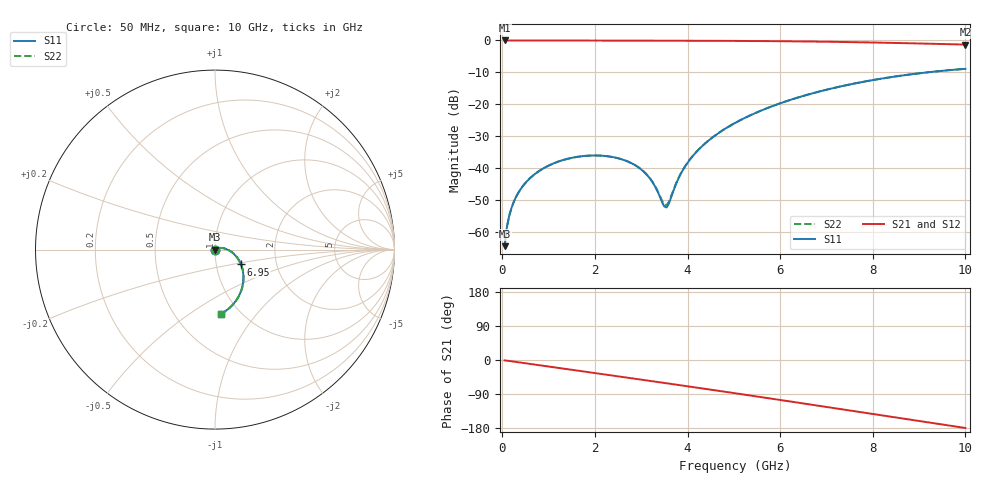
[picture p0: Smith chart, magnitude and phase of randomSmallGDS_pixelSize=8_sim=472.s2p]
! freq	dB(S11)	phase(S11)	dB(S12)	phase(S12)
!  dB(S21)	phase(S21)	dB(S22)	phase(S22)
!S-par simulation data
#  GHz  S  DB  R 50
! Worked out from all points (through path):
!   200 points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, 50 MHz to 10 GHz, reference 50 ohm
!   highest |S21| = 0.00 dB at 50 MHz (marker M1); lowest = -1.3 dB at 10 GHz (marker M2)
!   group delay of S21, straight-line fit = 50 ps
!   lowest |S11| = -64.3 dB at 50 MHz (marker M3), VSWR 1.00, Z = 50 - j0.0608 ohm
!   |S11| at or under -10 dB: start of sweep to 9.162 GHz
!   |S22| runs from -64.3 to -8.9 dB; largest |S21 - S12| = 0
!   S11 on the Smith chart (normalised r, x): 50 MHz: 1.00, -0.00; 6.95 GHz: 1.32, -0.22; 10 GHz: 0.82, -0.67
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0.05  -64.31 -87.9  -0.00 -0.9  -0.00 -0.9  -64.31 -87.9
0.1  -58.31 -90.4  -0.00 -1.7  -0.00 -1.7  -58.31 -90.4
0.2  -52.31 -93.0  -0.00 -3.5  -0.00 -3.5  -52.31 -93.0
0.35  -47.52 -96.2  -0.01 -6.1  -0.01 -6.1  -47.52 -96.2
0.5  -44.53 -99.1  -0.01 -8.7  -0.01 -8.7  -44.53 -99.2
1.05  -38.78 -109.7  -0.02 -18.1  -0.02 -18.1  -38.79 -109.8
1.75  -36.14 -123.1  -0.03 -30.1  -0.03 -30.1  -36.14 -123.3
2.3  -36.25 -134.4  -0.04 -39.6  -0.04 -39.6  -36.25 -134.7
2.8  -38.45 -146.4  -0.05 -48.3  -0.05 -48.3  -38.44 -147.1
3.15  -42.46 -159.9  -0.06 -54.4  -0.06 -54.4  -42.42 -161.2
3.4  -48.77 172.5  -0.07 -58.8  -0.07 -58.8  -48.49 170.0
3.5  -51.96 138.1  -0.07 -60.5  -0.07 -60.5  -51.32 136.4
3.55  -52.21 112.5  -0.07 -61.4  -0.07 -61.4  -51.49 112.6
3.85  -41.82 43.1  -0.08 -66.7  -0.08 -66.7  -41.71 44.7
4.1  -36.35 30.4  -0.09 -71.1  -0.09 -71.1  -36.31 31.5
4.5  -30.75 18.9  -0.11 -78.2  -0.11 -78.2  -30.73 19.6
5.05  -25.61 6.8  -0.14 -88.1  -0.14 -88.1  -25.60 7.3
5.8  -20.71 -7.9  -0.21 -101.8  -0.21 -101.8  -20.70 -7.6
6.7  -16.52 -25.0  -0.34 -118.4  -0.34 -118.4  -16.52 -24.8
6.95  -15.58 -29.7  -0.38 -123.0  -0.38 -123.0  -15.57 -29.5
8.35  -11.56 -55.6  -0.73 -149.1  -0.73 -149.1  -11.55 -55.4
10  -8.87 -85.1  -1.29 -179.4  -1.29 -179.4  -8.87 -84.8
